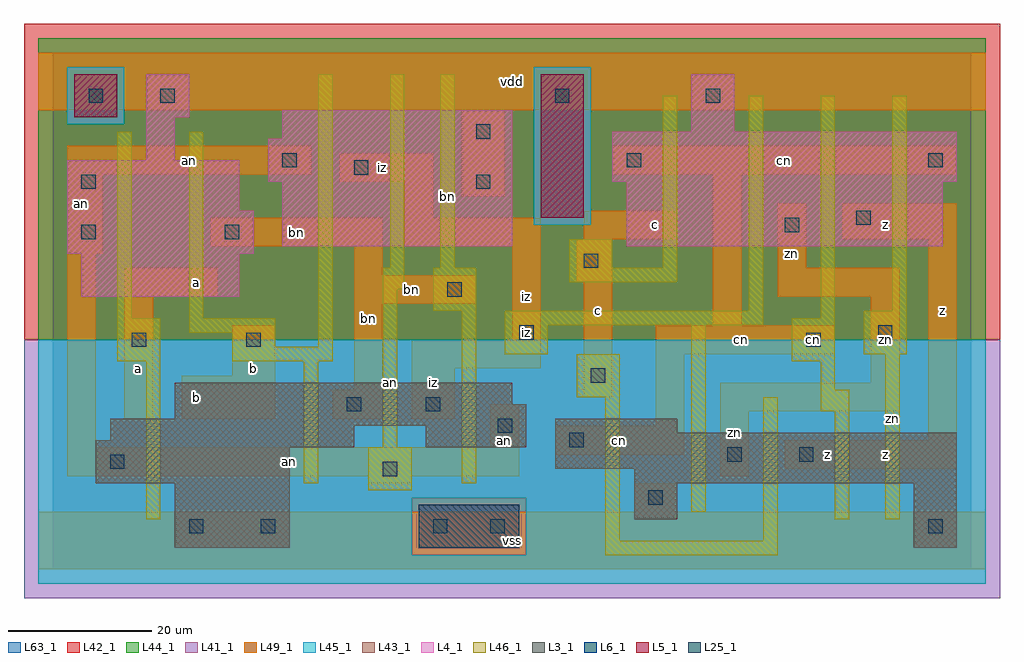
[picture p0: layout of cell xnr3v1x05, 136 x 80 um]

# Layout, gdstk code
import gdstk
lib = gdstk.Library(unit=1e-6, precision=1e-09)
def R(c, l, rs):  # rectangles x0, y0, x1, y1
    for r in rs: c.add(gdstk.rectangle(r[:2], r[2:], *l))
L3_1 = (3, 1)
L4_1 = (4, 1)
L5_1 = (5, 1)
L6_1 = (6, 1)
L25_1 = (25, 1)
L41_1 = (41, 1)
L42_1 = (42, 1)
L43_1 = (43, 1)
L44_1 = (44, 1)
L45_1 = (45, 1)
L46_1 = (46, 1)
L49_1 = (49, 1)
L63_1 = (63, 1)

xnr3v1x05 = lib.new_cell('xnr3v1x05')
R(xnr3v1x05, L3_1, [(17,3,33,12), (120,3,126,12), (81,7,87,12), (6,12,33,17), (81,12,126,14), (70,14,126,19), (6,17,42,18), (52,17,66,20), (8,18,42,20), (70,19,87,21), (8,20,66,21), (17,21,66,23), (17,23,64,26)])
R(xnr3v1x05, L4_1, [(4,38,26,44), (2,44,28,50), (32,45,64,54), (80,45,124,54), (2,50,26,57), (30,54,64,60), (78,54,126,61), (13,57,17,63), (32,60,64,64), (89,61,95,69), (13,63,19,69)])
R(xnr3v1x05, L5_1, [(68,49,74,69), (3,63,9,69)])
R(xnr3v1x05, L6_1, [(51,3,65,9), (51,3,65,9)])
R(xnr3v1x05, L25_1, [(19,5,21,7), (29,5,31,7), (53,5,55,7), (61,5,63,7), (122,5,124,7), (83,9,85,11), (46,13,48,15), (8,14,10,16), (94,15,96,17), (104,15,106,17), (72,17,74,19), (62,19,64,21), (41,22,43,24), (52,22,54,24), (75,26,77,28), (11,31,13,33), (27,31,29,33), (105,31,107,33), (65,32,67,34), (115,32,117,34), (55,38,57,40), (74,42,76,44), (4,46,6,48), (24,46,26,48), (102,47,104,49), (112,48,114,50), (4,53,6,55), (59,53,61,55), (42,55,44,57), (32,56,34,58), (80,56,82,58), (122,56,124,58), (59,60,61,62), (5,65,7,67), (15,65,17,67), (70,65,72,67), (91,65,93,67)])
R(xnr3v1x05, L41_1, [(-4,-4,132,32)])
R(xnr3v1x05, L42_1, [(-4,32,132,76)])
R(xnr3v1x05, L43_1, [(17,3,33,12), (51,3,65,9), (120,3,126,12), (81,7,87,12), (6,12,33,17), (81,12,126,14), (70,14,126,19), (6,17,42,18), (52,17,66,20), (8,18,42,20), (70,19,87,21), (8,20,66,21), (17,21,66,23), (17,23,64,26), (4,38,26,44), (2,44,28,50), (32,45,64,54), (80,45,124,54), (68,49,74,69), (2,50,26,57), (30,54,64,60), (78,54,126,61), (13,57,17,63), (32,60,64,64), (89,61,95,69), (3,63,9,69), (13,63,19,69)])
R(xnr3v1x05, L44_1, [(50,2,66,10), (-2,32,130,48), (-2,48,67,62), (75,48,130,70), (-2,62,2,70), (10,62,67,70), (-2,70,130,74)])
R(xnr3v1x05, L45_1, [(-2,-2,130,2), (-2,2,50,10), (66,2,130,10), (-2,10,130,32), (67,48,75,70), (2,62,10,70)])
R(xnr3v1x05, L46_1, [(77,2,101,4), (77,4,79,24), (99,4,101,24), (13,7,15,29), (109,7,111,22), (116,7,118,30), (89,8,91,34), (44,11,50,17), (35,12,37,29), (57,12,59,36), (46,17,48,39), (107,22,111,25), (73,24,79,30), (107,25,109,29), (9,29,15,35), (25,29,39,31), (103,29,109,35), (63,30,69,34), (113,30,119,36), (25,31,31,33), (37,31,39,69), (19,33,31,35), (63,34,99,36), (9,35,11,61), (19,35,21,61), (107,35,109,66), (53,36,59,42), (97,36,99,66), (117,36,119,66), (46,39,49,42), (72,40,87,42), (47,42,49,69), (54,42,56,69), (72,42,78,46), (85,42,87,66)])
R(xnr3v1x05, L49_1, [(-2,0,130,8), (81,8,87,12), (44,12,50,13), (2,13,65,17), (93,13,97,22), (102,14,126,18), (70,16,88,20), (2,17,6,44), (61,17,65,23), (122,18,126,46), (84,20,88,30), (10,21,14,38), (18,21,31,27), (39,21,46,25), (50,21,56,28), (93,22,118,26), (74,24,78,40), (42,25,46,37), (114,26,118,38), (25,27,31,34), (50,28,68,32), (84,30,109,34), (64,32,68,45), (92,34,96,55), (42,37,59,41), (10,38,23,42), (101,38,118,42), (73,40,78,46), (42,41,46,45), (101,42,105,51), (2,44,7,55), (22,45,46,49), (49,45,68,49), (74,46,87,50), (110,46,126,51), (49,49,53,54), (57,52,63,64), (40,54,53,58), (2,55,36,59), (78,55,126,59), (-2,64,130,72)])
R(xnr3v1x05, L63_1, [(0,0,128,72)])
xnr3v1x05.add(gdstk.Label('an', (47,26), layer=46, texttype=1))
xnr3v1x05.add(gdstk.Label('bn', (55,52), layer=46, texttype=1))
xnr3v1x05.add(gdstk.Label('iz', (66,33), layer=49, texttype=1))
xnr3v1x05.add(gdstk.Label('cn', (106,32), layer=49, texttype=1))
xnr3v1x05.add(gdstk.Label('zn', (117,21), layer=46, texttype=1))
xnr3v1x05.add(gdstk.Label('b', (20,24), layer=49, texttype=1))
xnr3v1x05.add(gdstk.Label('a', (12,28), layer=49, texttype=1))
xnr3v1x05.add(gdstk.Label('a', (20,40), layer=49, texttype=1))
xnr3v1x05.add(gdstk.Label('an', (4,51), layer=49, texttype=1))
xnr3v1x05.add(gdstk.Label('b', (28,28), layer=49, texttype=1))
xnr3v1x05.add(gdstk.Label('bn', (44,35), layer=49, texttype=1))
xnr3v1x05.add(gdstk.Label('bn', (34,47), layer=49, texttype=1))
xnr3v1x05.add(gdstk.Label('an', (19,57), layer=49, texttype=1))
xnr3v1x05.add(gdstk.Label('vss', (64,4), layer=49, texttype=1))
xnr3v1x05.add(gdstk.Label('an', (63,18), layer=49, texttype=1))
xnr3v1x05.add(gdstk.Label('an', (33,15), layer=49, texttype=1))
xnr3v1x05.add(gdstk.Label('iz', (53,26), layer=49, texttype=1))
xnr3v1x05.add(gdstk.Label('bn', (50,39), layer=49, texttype=1))
xnr3v1x05.add(gdstk.Label('iz', (66,38), layer=49, texttype=1))
xnr3v1x05.add(gdstk.Label('iz', (46,56), layer=49, texttype=1))
xnr3v1x05.add(gdstk.Label('vdd', (64,68), layer=49, texttype=1))
xnr3v1x05.add(gdstk.Label('zn', (95,19), layer=49, texttype=1))
xnr3v1x05.add(gdstk.Label('cn', (79,18), layer=49, texttype=1))
xnr3v1x05.add(gdstk.Label('c', (76,36), layer=49, texttype=1))
xnr3v1x05.add(gdstk.Label('c', (84,48), layer=49, texttype=1))
xnr3v1x05.add(gdstk.Label('z', (108,16), layer=49, texttype=1))
xnr3v1x05.add(gdstk.Label('z', (116,16), layer=49, texttype=1))
xnr3v1x05.add(gdstk.Label('zn', (116,32), layer=49, texttype=1))
xnr3v1x05.add(gdstk.Label('cn', (96,32), layer=49, texttype=1))
xnr3v1x05.add(gdstk.Label('z', (124,36), layer=49, texttype=1))
xnr3v1x05.add(gdstk.Label('zn', (103,44), layer=49, texttype=1))
xnr3v1x05.add(gdstk.Label('z', (116,48), layer=49, texttype=1))
xnr3v1x05.add(gdstk.Label('cn', (102,57), layer=49, texttype=1))

lib.write_gds('xnr3v1x05.gds')
